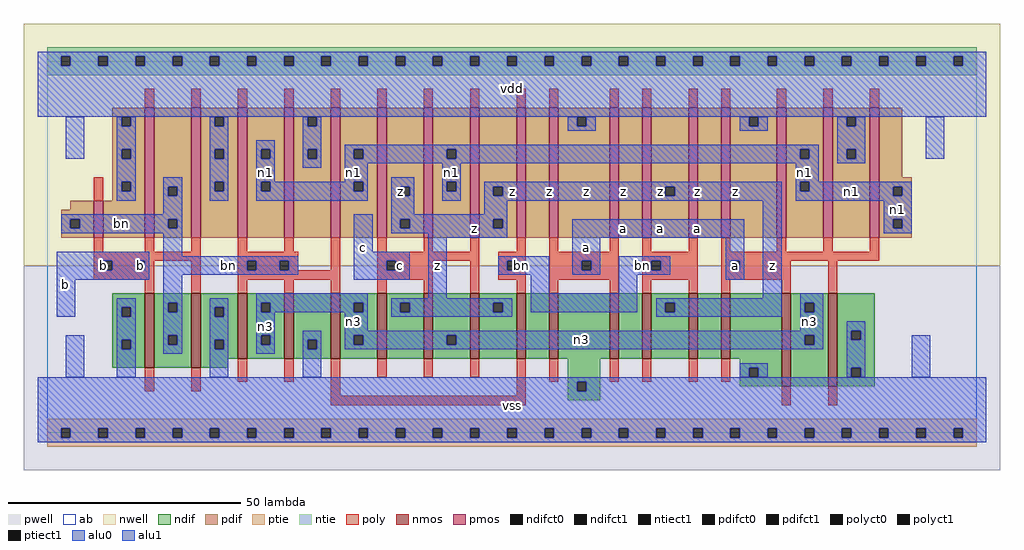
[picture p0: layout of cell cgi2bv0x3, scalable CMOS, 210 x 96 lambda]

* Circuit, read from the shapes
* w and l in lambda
.subckt cgi2bv0x3 a b bn c n1 n3 vdd vss z
M1 bn b vss vss nfet w=16 l=2 m=2
M2 n3 bn vss vss nfet w=14 l=2 m=3
M3 z c n3 vss nfet w=14 l=2 m=3
M4 n2 bn z vss nfet w=14 l=2
M5 vss a n2 vss nfet w=14 l=2
M6 n4 a vss vss nfet w=14 l=2
M7 z bn n4 vss nfet w=14 l=2
M8 n5 bn z vss nfet w=14 l=2
M9 vss a n5 vss nfet w=14 l=2
M10 n3 a vss vss nfet w=20 l=2 m=2
M11 vdd b bn vdd pfet w=8 l=2
M12 bn b vdd vdd pfet w=28 l=2 m=2
M13 n1 bn vdd vdd pfet w=28 l=2 m=3
M14 z c n1 vdd pfet w=28 l=2 m=3
M15 n6 bn z vdd pfet w=28 l=2
M16 vdd a n6 vdd pfet w=28 l=2
M17 n7 a vdd vdd pfet w=28 l=2
M18 z bn n7 vdd pfet w=28 l=2
M19 n8 bn z vdd pfet w=28 l=2
M20 vdd a n8 vdd pfet w=28 l=2
M21 n1 a vdd vdd pfet w=28 l=2 m=3
.ends

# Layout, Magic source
magic
tech scmos
<< ab >>
rect 0 0 200 80
<< nwell >>
rect -5 36 205 88
<< pwell >>
rect -5 -8 205 36
<< poly >>
rect 21 70 23 74
rect 31 70 33 74
rect 41 70 43 74
rect 51 70 53 74
rect 61 70 63 74
rect 71 70 73 74
rect 81 70 83 74
rect 91 70 93 74
rect 101 70 103 74
rect 108 70 110 74
rect 121 70 123 74
rect 128 70 130 74
rect 138 70 140 74
rect 145 70 147 74
rect 157 70 159 74
rect 167 70 169 74
rect 177 70 179 74
rect 10 50 12 55
rect 10 39 12 42
rect 21 39 23 42
rect 31 39 33 42
rect 10 37 33 39
rect 10 35 12 37
rect 14 35 19 37
rect 21 35 23 37
rect 10 33 23 35
rect 21 30 23 33
rect 31 30 33 37
rect 41 39 43 42
rect 51 39 53 42
rect 41 37 54 39
rect 41 35 43 37
rect 45 35 50 37
rect 52 35 54 37
rect 61 35 63 42
rect 41 33 63 35
rect 41 30 43 33
rect 51 30 53 33
rect 61 30 63 33
rect 71 39 73 42
rect 81 39 83 42
rect 91 39 93 42
rect 101 39 103 42
rect 71 37 93 39
rect 71 35 73 37
rect 75 35 83 37
rect 71 33 83 35
rect 71 30 73 33
rect 81 30 83 33
rect 91 30 93 37
rect 97 37 103 39
rect 97 35 99 37
rect 101 35 103 37
rect 97 33 103 35
rect 101 30 103 33
rect 108 39 110 42
rect 121 39 123 42
rect 108 37 123 39
rect 108 35 115 37
rect 117 35 123 37
rect 108 33 123 35
rect 108 30 110 33
rect 121 30 123 33
rect 128 39 130 42
rect 138 39 140 42
rect 128 37 140 39
rect 128 35 130 37
rect 132 35 140 37
rect 128 33 140 35
rect 128 30 130 33
rect 138 30 140 33
rect 145 39 147 42
rect 157 39 159 42
rect 167 39 169 42
rect 177 39 179 42
rect 145 37 179 39
rect 145 35 147 37
rect 149 35 160 37
rect 145 33 160 35
rect 145 30 147 33
rect 158 30 160 33
rect 168 30 170 37
rect 21 9 23 14
rect 31 9 33 14
rect 41 11 43 16
rect 51 11 53 16
rect 61 8 63 16
rect 71 12 73 16
rect 81 12 83 16
rect 91 12 93 16
rect 101 8 103 16
rect 108 11 110 16
rect 121 11 123 16
rect 128 11 130 16
rect 138 11 140 16
rect 145 11 147 16
rect 61 6 103 8
rect 158 6 160 10
rect 168 6 170 10
<< ndif >>
rect 14 27 21 30
rect 14 25 16 27
rect 18 25 21 27
rect 14 20 21 25
rect 14 18 16 20
rect 18 18 21 20
rect 14 14 21 18
rect 23 28 31 30
rect 23 26 26 28
rect 28 26 31 28
rect 23 21 31 26
rect 23 19 26 21
rect 28 19 31 21
rect 23 14 31 19
rect 33 27 41 30
rect 33 25 36 27
rect 38 25 41 27
rect 33 20 41 25
rect 33 18 36 20
rect 38 18 41 20
rect 33 16 41 18
rect 43 28 51 30
rect 43 26 46 28
rect 48 26 51 28
rect 43 21 51 26
rect 43 19 46 21
rect 48 19 51 21
rect 43 16 51 19
rect 53 20 61 30
rect 53 18 56 20
rect 58 18 61 20
rect 53 16 61 18
rect 63 28 71 30
rect 63 26 66 28
rect 68 26 71 28
rect 63 21 71 26
rect 63 19 66 21
rect 68 19 71 21
rect 63 16 71 19
rect 73 28 81 30
rect 73 26 76 28
rect 78 26 81 28
rect 73 16 81 26
rect 83 21 91 30
rect 83 19 86 21
rect 88 19 91 21
rect 83 16 91 19
rect 93 28 101 30
rect 93 26 96 28
rect 98 26 101 28
rect 93 16 101 26
rect 103 16 108 30
rect 110 16 121 30
rect 123 16 128 30
rect 130 28 138 30
rect 130 26 133 28
rect 135 26 138 28
rect 130 16 138 26
rect 140 16 145 30
rect 147 16 158 30
rect 33 14 39 16
rect 112 11 119 16
rect 149 14 158 16
rect 149 12 151 14
rect 153 12 158 14
rect 112 9 114 11
rect 116 9 119 11
rect 149 10 158 12
rect 160 28 168 30
rect 160 26 163 28
rect 165 26 168 28
rect 160 21 168 26
rect 160 19 163 21
rect 165 19 168 21
rect 160 10 168 19
rect 170 22 178 30
rect 170 20 173 22
rect 175 20 178 22
rect 170 14 178 20
rect 170 12 173 14
rect 175 12 178 14
rect 170 10 178 12
rect 112 7 119 9
<< pdif >>
rect 14 68 21 70
rect 14 66 16 68
rect 18 66 21 68
rect 14 61 21 66
rect 14 59 16 61
rect 18 59 21 61
rect 14 54 21 59
rect 14 52 16 54
rect 18 52 21 54
rect 14 50 21 52
rect 5 48 10 50
rect 3 46 10 48
rect 3 44 5 46
rect 7 44 10 46
rect 3 42 10 44
rect 12 42 21 50
rect 23 53 31 70
rect 23 51 26 53
rect 28 51 31 53
rect 23 46 31 51
rect 23 44 26 46
rect 28 44 31 46
rect 23 42 31 44
rect 33 68 41 70
rect 33 66 36 68
rect 38 66 41 68
rect 33 61 41 66
rect 33 59 36 61
rect 38 59 41 61
rect 33 54 41 59
rect 33 52 36 54
rect 38 52 41 54
rect 33 42 41 52
rect 43 61 51 70
rect 43 59 46 61
rect 48 59 51 61
rect 43 54 51 59
rect 43 52 46 54
rect 48 52 51 54
rect 43 42 51 52
rect 53 68 61 70
rect 53 66 56 68
rect 58 66 61 68
rect 53 61 61 66
rect 53 59 56 61
rect 58 59 61 61
rect 53 42 61 59
rect 63 61 71 70
rect 63 59 66 61
rect 68 59 71 61
rect 63 54 71 59
rect 63 52 66 54
rect 68 52 71 54
rect 63 42 71 52
rect 73 53 81 70
rect 73 51 76 53
rect 78 51 81 53
rect 73 46 81 51
rect 73 44 76 46
rect 78 44 81 46
rect 73 42 81 44
rect 83 61 91 70
rect 83 59 86 61
rect 88 59 91 61
rect 83 54 91 59
rect 83 52 86 54
rect 88 52 91 54
rect 83 42 91 52
rect 93 53 101 70
rect 93 51 96 53
rect 98 51 101 53
rect 93 46 101 51
rect 93 44 96 46
rect 98 44 101 46
rect 93 42 101 44
rect 103 42 108 70
rect 110 68 121 70
rect 110 66 114 68
rect 116 66 121 68
rect 110 42 121 66
rect 123 42 128 70
rect 130 53 138 70
rect 130 51 133 53
rect 135 51 138 53
rect 130 42 138 51
rect 140 42 145 70
rect 147 68 157 70
rect 147 66 151 68
rect 153 66 157 68
rect 147 42 157 66
rect 159 61 167 70
rect 159 59 162 61
rect 164 59 167 61
rect 159 54 167 59
rect 159 52 162 54
rect 164 52 167 54
rect 159 42 167 52
rect 169 68 177 70
rect 169 66 172 68
rect 174 66 177 68
rect 169 61 177 66
rect 169 59 172 61
rect 174 59 177 61
rect 169 42 177 59
rect 179 55 184 70
rect 179 53 186 55
rect 179 51 182 53
rect 184 51 186 53
rect 179 46 186 51
rect 179 44 182 46
rect 184 44 186 46
rect 179 42 186 44
<< alu1 >>
rect -2 81 202 82
rect -2 79 3 81
rect 5 79 11 81
rect 13 79 19 81
rect 21 79 27 81
rect 29 79 35 81
rect 37 79 43 81
rect 45 79 51 81
rect 53 79 59 81
rect 61 79 67 81
rect 69 79 75 81
rect 77 79 83 81
rect 85 79 91 81
rect 93 79 99 81
rect 101 79 107 81
rect 109 79 115 81
rect 117 79 123 81
rect 125 79 131 81
rect 133 79 139 81
rect 141 79 147 81
rect 149 79 155 81
rect 157 79 163 81
rect 165 79 171 81
rect 173 79 179 81
rect 181 79 187 81
rect 189 79 195 81
rect 197 79 202 81
rect -2 68 202 79
rect 74 53 79 55
rect 74 51 76 53
rect 78 51 79 53
rect 74 47 79 51
rect 94 53 158 54
rect 94 51 96 53
rect 98 51 133 53
rect 135 51 158 53
rect 94 50 158 51
rect 94 47 99 50
rect 2 37 22 39
rect 2 35 12 37
rect 14 35 19 37
rect 21 35 22 37
rect 2 33 22 35
rect 66 39 70 47
rect 74 46 99 47
rect 74 44 76 46
rect 78 44 96 46
rect 98 44 99 46
rect 74 43 99 44
rect 82 42 99 43
rect 113 42 150 46
rect 66 37 78 39
rect 66 35 73 37
rect 75 35 78 37
rect 2 25 6 33
rect 66 33 78 35
rect 82 29 86 42
rect 113 37 119 42
rect 113 35 115 37
rect 117 35 119 37
rect 113 34 119 35
rect 146 37 150 42
rect 146 35 147 37
rect 149 35 150 37
rect 146 33 150 35
rect 74 28 100 29
rect 74 26 76 28
rect 78 26 96 28
rect 98 26 100 28
rect 154 29 158 50
rect 131 28 158 29
rect 131 26 133 28
rect 135 26 158 28
rect 74 25 100 26
rect 131 25 158 26
rect -2 11 202 12
rect -2 9 114 11
rect 116 9 202 11
rect -2 1 202 9
rect -2 -1 3 1
rect 5 -1 11 1
rect 13 -1 19 1
rect 21 -1 27 1
rect 29 -1 35 1
rect 37 -1 43 1
rect 45 -1 51 1
rect 53 -1 59 1
rect 61 -1 67 1
rect 69 -1 75 1
rect 77 -1 83 1
rect 85 -1 91 1
rect 93 -1 99 1
rect 101 -1 107 1
rect 109 -1 115 1
rect 117 -1 123 1
rect 125 -1 131 1
rect 133 -1 139 1
rect 141 -1 147 1
rect 149 -1 155 1
rect 157 -1 163 1
rect 165 -1 171 1
rect 173 -1 179 1
rect 181 -1 187 1
rect 189 -1 195 1
rect 197 -1 202 1
rect -2 -2 202 -1
<< ptie >>
rect 0 1 200 3
rect 0 -1 3 1
rect 5 -1 11 1
rect 13 -1 19 1
rect 21 -1 27 1
rect 29 -1 35 1
rect 37 -1 43 1
rect 45 -1 51 1
rect 53 -1 59 1
rect 61 -1 67 1
rect 69 -1 75 1
rect 77 -1 83 1
rect 85 -1 91 1
rect 93 -1 99 1
rect 101 -1 107 1
rect 109 -1 115 1
rect 117 -1 123 1
rect 125 -1 131 1
rect 133 -1 139 1
rect 141 -1 147 1
rect 149 -1 155 1
rect 157 -1 163 1
rect 165 -1 171 1
rect 173 -1 179 1
rect 181 -1 187 1
rect 189 -1 195 1
rect 197 -1 200 1
rect 0 -3 200 -1
<< ntie >>
rect 0 81 200 83
rect 0 79 3 81
rect 5 79 11 81
rect 13 79 19 81
rect 21 79 27 81
rect 29 79 35 81
rect 37 79 43 81
rect 45 79 51 81
rect 53 79 59 81
rect 61 79 67 81
rect 69 79 75 81
rect 77 79 83 81
rect 85 79 91 81
rect 93 79 99 81
rect 101 79 107 81
rect 109 79 115 81
rect 117 79 123 81
rect 125 79 131 81
rect 133 79 139 81
rect 141 79 147 81
rect 149 79 155 81
rect 157 79 163 81
rect 165 79 171 81
rect 173 79 179 81
rect 181 79 187 81
rect 189 79 195 81
rect 197 79 200 81
rect 0 77 200 79
<< nmos >>
rect 21 14 23 30
rect 31 14 33 30
rect 41 16 43 30
rect 51 16 53 30
rect 61 16 63 30
rect 71 16 73 30
rect 81 16 83 30
rect 91 16 93 30
rect 101 16 103 30
rect 108 16 110 30
rect 121 16 123 30
rect 128 16 130 30
rect 138 16 140 30
rect 145 16 147 30
rect 158 10 160 30
rect 168 10 170 30
<< pmos >>
rect 10 42 12 50
rect 21 42 23 70
rect 31 42 33 70
rect 41 42 43 70
rect 51 42 53 70
rect 61 42 63 70
rect 71 42 73 70
rect 81 42 83 70
rect 91 42 93 70
rect 101 42 103 70
rect 108 42 110 70
rect 121 42 123 70
rect 128 42 130 70
rect 138 42 140 70
rect 145 42 147 70
rect 157 42 159 70
rect 167 42 169 70
rect 177 42 179 70
<< polyct0 >>
rect 43 35 45 37
rect 50 35 52 37
rect 99 35 101 37
rect 130 35 132 37
<< polyct1 >>
rect 12 35 14 37
rect 19 35 21 37
rect 73 35 75 37
rect 115 35 117 37
rect 147 35 149 37
<< ndifct0 >>
rect 16 25 18 27
rect 16 18 18 20
rect 26 26 28 28
rect 26 19 28 21
rect 36 25 38 27
rect 36 18 38 20
rect 46 26 48 28
rect 46 19 48 21
rect 56 18 58 20
rect 66 26 68 28
rect 66 19 68 21
rect 86 19 88 21
rect 151 12 153 14
rect 163 26 165 28
rect 163 19 165 21
rect 173 20 175 22
rect 173 12 175 14
<< ndifct1 >>
rect 76 26 78 28
rect 96 26 98 28
rect 133 26 135 28
rect 114 9 116 11
<< ntiect1 >>
rect 3 79 5 81
rect 11 79 13 81
rect 19 79 21 81
rect 27 79 29 81
rect 35 79 37 81
rect 43 79 45 81
rect 51 79 53 81
rect 59 79 61 81
rect 67 79 69 81
rect 75 79 77 81
rect 83 79 85 81
rect 91 79 93 81
rect 99 79 101 81
rect 107 79 109 81
rect 115 79 117 81
rect 123 79 125 81
rect 131 79 133 81
rect 139 79 141 81
rect 147 79 149 81
rect 155 79 157 81
rect 163 79 165 81
rect 171 79 173 81
rect 179 79 181 81
rect 187 79 189 81
rect 195 79 197 81
<< ptiect1 >>
rect 3 -1 5 1
rect 11 -1 13 1
rect 19 -1 21 1
rect 27 -1 29 1
rect 35 -1 37 1
rect 43 -1 45 1
rect 51 -1 53 1
rect 59 -1 61 1
rect 67 -1 69 1
rect 75 -1 77 1
rect 83 -1 85 1
rect 91 -1 93 1
rect 99 -1 101 1
rect 107 -1 109 1
rect 115 -1 117 1
rect 123 -1 125 1
rect 131 -1 133 1
rect 139 -1 141 1
rect 147 -1 149 1
rect 155 -1 157 1
rect 163 -1 165 1
rect 171 -1 173 1
rect 179 -1 181 1
rect 187 -1 189 1
rect 195 -1 197 1
<< pdifct0 >>
rect 16 66 18 68
rect 16 59 18 61
rect 16 52 18 54
rect 5 44 7 46
rect 26 51 28 53
rect 26 44 28 46
rect 36 66 38 68
rect 36 59 38 61
rect 36 52 38 54
rect 46 59 48 61
rect 46 52 48 54
rect 56 66 58 68
rect 56 59 58 61
rect 66 59 68 61
rect 66 52 68 54
rect 86 59 88 61
rect 86 52 88 54
rect 114 66 116 68
rect 151 66 153 68
rect 162 59 164 61
rect 162 52 164 54
rect 172 66 174 68
rect 172 59 174 61
rect 182 51 184 53
rect 182 44 184 46
<< pdifct1 >>
rect 76 51 78 53
rect 76 44 78 46
rect 96 51 98 53
rect 96 44 98 46
rect 133 51 135 53
<< alu0 >>
rect 4 59 8 68
rect 15 66 16 68
rect 18 66 19 68
rect 15 61 19 66
rect 15 59 16 61
rect 18 59 19 61
rect 15 54 19 59
rect 35 66 36 68
rect 38 66 39 68
rect 35 61 39 66
rect 55 66 56 68
rect 58 66 59 68
rect 35 59 36 61
rect 38 59 39 61
rect 15 52 16 54
rect 18 52 19 54
rect 15 50 19 52
rect 25 53 29 55
rect 25 51 26 53
rect 28 51 29 53
rect 25 47 29 51
rect 35 54 39 59
rect 35 52 36 54
rect 38 52 39 54
rect 35 50 39 52
rect 45 61 49 63
rect 45 59 46 61
rect 48 59 49 61
rect 45 54 49 59
rect 55 61 59 66
rect 112 66 114 68
rect 116 66 118 68
rect 112 65 118 66
rect 149 66 151 68
rect 153 66 155 68
rect 149 65 155 66
rect 170 66 172 68
rect 174 66 176 68
rect 55 59 56 61
rect 58 59 59 61
rect 55 57 59 59
rect 64 61 166 62
rect 64 59 66 61
rect 68 59 86 61
rect 88 59 162 61
rect 164 59 166 61
rect 64 58 166 59
rect 170 61 176 66
rect 170 59 172 61
rect 174 59 176 61
rect 189 59 193 68
rect 170 58 176 59
rect 64 54 69 58
rect 45 52 46 54
rect 48 52 66 54
rect 68 52 69 54
rect 45 50 69 52
rect 85 54 89 58
rect 161 54 166 58
rect 85 52 86 54
rect 88 52 89 54
rect 85 50 89 52
rect 161 52 162 54
rect 164 53 186 54
rect 164 52 182 53
rect 161 51 182 52
rect 184 51 186 53
rect 161 50 186 51
rect 3 46 29 47
rect 3 44 5 46
rect 7 44 26 46
rect 28 44 29 46
rect 3 43 29 44
rect 25 38 29 43
rect 25 37 54 38
rect 25 35 43 37
rect 45 35 50 37
rect 52 35 54 37
rect 25 34 54 35
rect 15 27 19 29
rect 15 25 16 27
rect 18 25 19 27
rect 4 12 8 21
rect 15 20 19 25
rect 15 18 16 20
rect 18 18 19 20
rect 15 12 19 18
rect 25 28 29 34
rect 25 26 26 28
rect 28 26 29 28
rect 25 21 29 26
rect 25 19 26 21
rect 28 19 29 21
rect 25 17 29 19
rect 35 27 39 29
rect 35 25 36 27
rect 38 25 39 27
rect 35 20 39 25
rect 35 18 36 20
rect 38 18 39 20
rect 35 12 39 18
rect 45 28 69 30
rect 97 37 108 38
rect 97 35 99 37
rect 101 35 108 37
rect 97 34 108 35
rect 123 37 134 38
rect 123 35 130 37
rect 132 35 134 37
rect 123 34 134 35
rect 104 30 108 34
rect 123 30 127 34
rect 45 26 46 28
rect 48 26 66 28
rect 68 26 69 28
rect 45 21 49 26
rect 64 22 69 26
rect 104 26 127 30
rect 180 46 186 50
rect 180 44 182 46
rect 184 44 186 46
rect 180 43 186 44
rect 162 28 167 30
rect 162 26 163 28
rect 165 26 167 28
rect 162 22 167 26
rect 45 19 46 21
rect 48 19 49 21
rect 45 17 49 19
rect 55 20 59 22
rect 55 18 56 20
rect 58 18 59 20
rect 64 21 167 22
rect 64 19 66 21
rect 68 19 86 21
rect 88 19 163 21
rect 165 19 167 21
rect 64 18 167 19
rect 172 22 176 24
rect 172 20 173 22
rect 175 20 176 22
rect 55 12 59 18
rect 149 14 155 15
rect 149 12 151 14
rect 153 12 155 14
rect 172 14 176 20
rect 172 12 173 14
rect 175 12 176 14
rect 186 12 190 21
<< labels >>
rlabel alu0 16 45 16 45 6 bn
rlabel alu0 47 23 47 23 6 n3
rlabel alu0 66 24 66 24 6 n3
rlabel alu0 39 36 39 36 6 bn
rlabel alu0 66 56 66 56 6 n1
rlabel alu0 47 56 47 56 6 n1
rlabel alu0 102 36 102 36 6 bn
rlabel alu0 87 56 87 56 6 n1
rlabel alu0 128 36 128 36 6 bn
rlabel alu0 115 20 115 20 6 n3
rlabel alu0 164 24 164 24 6 n3
rlabel alu0 183 48 183 48 6 n1
rlabel alu0 163 56 163 56 6 n1
rlabel alu0 173 52 173 52 6 n1
rlabel alu1 4 32 4 32 6 b
rlabel polyct1 20 36 20 36 6 b
rlabel alu1 12 36 12 36 6 b
rlabel alu1 76 36 76 36 6 c
rlabel alu1 68 40 68 40 6 c
rlabel alu1 76 52 76 52 6 z
rlabel alu1 100 6 100 6 6 vss
rlabel alu1 92 44 92 44 6 z
rlabel alu1 116 40 116 40 6 a
rlabel alu1 84 36 84 36 6 z
rlabel alu1 108 52 108 52 6 z
rlabel alu1 100 52 100 52 6 z
rlabel alu1 116 52 116 52 6 z
rlabel alu1 100 74 100 74 6 vdd
rlabel alu1 124 44 124 44 6 a
rlabel alu1 140 44 140 44 6 a
rlabel alu1 132 44 132 44 6 a
rlabel polyct1 148 36 148 36 6 a
rlabel alu1 156 36 156 36 6 z
rlabel alu1 132 52 132 52 6 z
rlabel alu1 148 52 148 52 6 z
rlabel alu1 140 52 140 52 6 z
rlabel alu1 124 52 124 52 6 z
<< end >>
